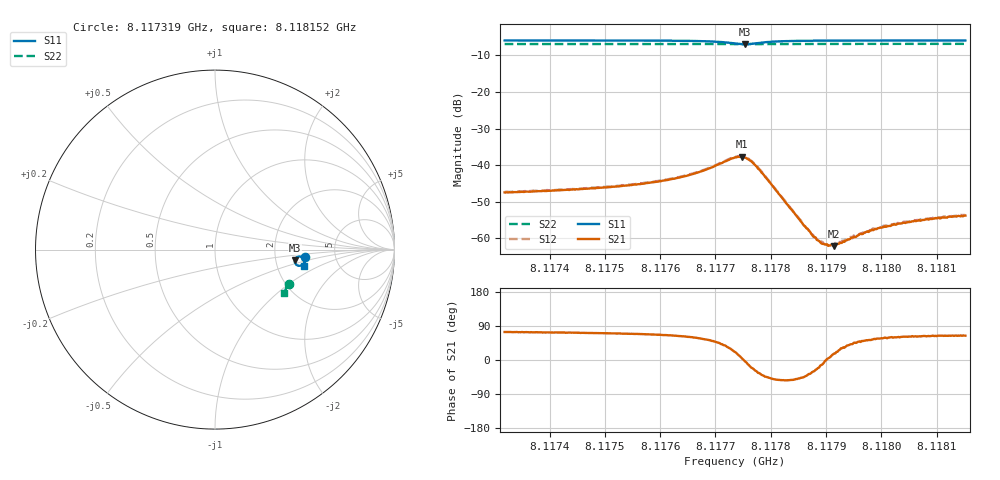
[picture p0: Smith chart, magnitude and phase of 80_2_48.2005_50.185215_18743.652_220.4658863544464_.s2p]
#  HZ  S  RI  R  50.00
! Rohde & Schwarz Vector Network Analyzer
! Rohde-Schwarz,ZNB20-2Port,1311601062101988,3.16
! Created: UTC 3/20/2024, 11:39:39 AM
! freq[Hz]  re:S11  im:S11  re:S21  im:S21  re:S12  im:S12  re:S22  im:S22
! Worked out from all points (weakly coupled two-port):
!   401 points, 8.117319 GHz to 8.118152 GHz, reference 50 ohm
!   highest |S21| = -37.71 dB at 8.117748 GHz (marker M1); lowest = -62.1 dB at 8.117915 GHz (marker M2)
!   lowest |S11| = -7.0 dB at 8.117754 GHz (marker M3), VSWR 2.63, Z = 128 - j19.1 ohm
!   |S11| at or under -10 dB: nowhere
!   |S22| runs from -6.9 to -6.9 dB; largest |S21 - S12| = 0.00048
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8.1173187e9  0.5038 -0.0422  0.00118 0.00407  0.00123 0.00414  0.4095 -0.1904
8.1174583e9  0.502 -0.0548  0.00148 0.00448  0.00157 0.00454  0.4056 -0.1995
8.117527e9  0.5005 -0.0618  0.00176 0.00483  0.00186 0.0049  0.4036 -0.2039
8.1175979e9  0.4976 -0.0705  0.00239 0.00553  0.00251 0.00559  0.4014 -0.2084
8.1176375e9  0.4943 -0.0768  0.00313 0.00609  0.00324 0.0062  0.3999 -0.2111
8.1176687e9  0.4894 -0.0827  0.00424 0.00673  0.00441 0.00682  0.3987 -0.2132
8.1177354e9  0.4521 -0.083  0.012 0.00464  0.0122 0.00449  0.3953 -0.2165
8.1177479e9  0.4445 -0.0684  0.013 0.000983  0.0133 0.000961  0.3946 -0.2169
8.1177541e9  0.4447 -0.0594  0.0126 -0.000984  0.0128 -0.00119  0.3946 -0.2167
8.1177666e9  0.4535 -0.0444  0.0102 -0.00407  0.0104 -0.00418  0.3948 -0.2169
8.1177812e9  0.4687 -0.0383  0.00674 -0.00502  0.00678 -0.00516  0.3952 -0.2177
8.1178166e9  0.4898 -0.0468  0.00234 -0.00311  0.00236 -0.00317  0.3949 -0.2203
8.117875e9  0.4976 -0.0617  0.000944 -0.000587  0.000939 -0.00064  0.3933 -0.2246
8.1178833e9  0.4978 -0.0632  0.000867 -0.000389  0.000884 -0.000414  0.393 -0.2251
8.1178937e9  0.4981 -0.0649  0.000822 -0.000165  0.000871 -0.000197  0.3928 -0.2258
8.1179e9  0.4982 -0.0661  0.000822 -7.96e-06  0.000825 -4.82e-05  0.3925 -0.2263
8.1179146e9  0.4985 -0.0683  0.000747 0.000226  0.00078 0.000225  0.392 -0.2273
8.1179708e9  0.4986 -0.0756  0.00076 0.000936  0.000757 0.000923  0.3902 -0.2309
8.1179833e9  0.4984 -0.077  0.000769 0.00105  0.000767 0.0011  0.3898 -0.2317
8.1180146e9  0.4981 -0.0803  0.000755 0.00127  0.0008 0.00127  0.3888 -0.2337
8.1180646e9  0.4977 -0.0852  0.000826 0.00153  0.000857 0.00156  0.387 -0.2368
8.1181521e9  0.4962 -0.0932  0.000895 0.00184  0.000925 0.00188  0.384 -0.2422
